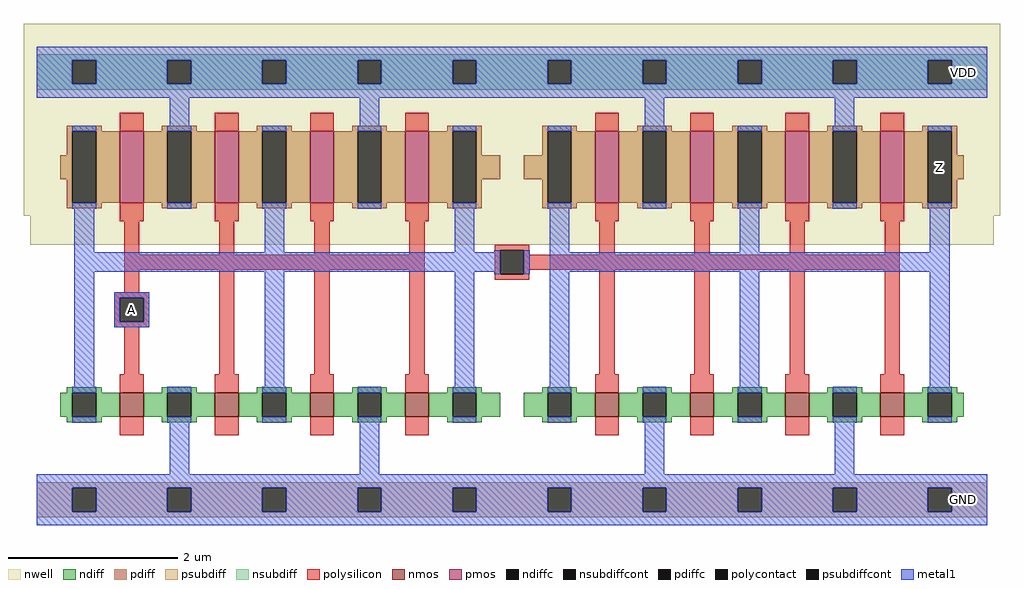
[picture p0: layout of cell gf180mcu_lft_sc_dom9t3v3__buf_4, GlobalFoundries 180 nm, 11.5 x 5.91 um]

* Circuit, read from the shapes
.subckt gf180mcu_lft_sc_dom9t3v3__buf_4 GND VDD A Z
XM1 GND A n1 GND nfet_03v3 w=0.28u l=0.28u m=4
XM2 GND n1 Z GND nfet_03v3 w=0.28u l=0.28u m=4
XM3 VDD A n1 VDD pfet_03v3 w=0.84u l=0.28u m=4
XM4 VDD n1 Z VDD pfet_03v3 w=0.84u l=0.28u m=4
.ends

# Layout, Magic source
magic
tech gf180mcuD
magscale 1 10
<< nwell >>
rect -30 670 2270 1122
rect -15 601 2255 670
<< nmos >>
rect 196 196 252 252
rect 420 196 476 252
rect 644 196 700 252
rect 868 196 924 252
rect 1316 196 1372 252
rect 1540 196 1596 252
rect 1764 196 1820 252
rect 1988 196 2044 252
<< pmos >>
rect 196 700 252 868
rect 420 700 476 868
rect 644 700 700 868
rect 868 700 924 868
rect 1316 700 1372 868
rect 1540 700 1596 868
rect 1764 700 1820 868
rect 1988 700 2044 868
<< ndiff >>
rect 71 252 153 265
rect 295 252 377 265
rect 519 252 601 265
rect 743 252 825 265
rect 967 252 1049 265
rect 1191 252 1273 265
rect 1415 252 1497 265
rect 1639 252 1721 265
rect 1863 252 1945 265
rect 2087 252 2169 265
rect 56 196 84 252
rect 140 196 196 252
rect 252 196 308 252
rect 364 196 420 252
rect 476 196 532 252
rect 588 196 644 252
rect 700 196 756 252
rect 812 196 868 252
rect 924 196 980 252
rect 1036 196 1092 252
rect 1148 196 1204 252
rect 1260 196 1316 252
rect 1372 196 1428 252
rect 1484 196 1540 252
rect 1596 196 1652 252
rect 1708 196 1764 252
rect 1820 196 1876 252
rect 1932 196 1988 252
rect 2044 196 2100 252
rect 2156 196 2184 252
rect 71 183 153 196
rect 295 183 377 196
rect 519 183 601 196
rect 743 183 825 196
rect 967 183 1049 196
rect 1191 183 1273 196
rect 1415 183 1497 196
rect 1639 183 1721 196
rect 1863 183 1945 196
rect 2087 183 2169 196
<< pdiff >>
rect 71 868 153 881
rect 295 868 377 881
rect 519 868 601 881
rect 743 868 825 881
rect 967 868 1049 881
rect 71 812 84 868
rect 56 756 84 812
rect 71 700 84 756
rect 140 700 196 868
rect 252 700 308 868
rect 364 700 420 868
rect 476 700 532 868
rect 588 700 644 868
rect 700 700 756 868
rect 812 700 868 868
rect 924 700 980 868
rect 1036 812 1049 868
rect 1191 868 1273 881
rect 1415 868 1497 881
rect 1639 868 1721 881
rect 1863 868 1945 881
rect 2087 868 2169 881
rect 1191 812 1204 868
rect 1036 756 1092 812
rect 1148 756 1204 812
rect 1036 700 1049 756
rect 71 687 153 700
rect 295 687 377 700
rect 519 687 601 700
rect 743 687 825 700
rect 967 687 1049 700
rect 1191 700 1204 756
rect 1260 700 1316 868
rect 1372 700 1428 868
rect 1484 700 1540 868
rect 1596 700 1652 868
rect 1708 700 1764 868
rect 1820 700 1876 868
rect 1932 700 1988 868
rect 2044 700 2100 868
rect 2156 812 2169 868
rect 2156 756 2184 812
rect 2156 700 2169 756
rect 1191 687 1273 700
rect 1415 687 1497 700
rect 1639 687 1721 700
rect 1863 687 1945 700
rect 2087 687 2169 700
<< ndiffc >>
rect 84 196 140 252
rect 308 196 364 252
rect 532 196 588 252
rect 756 196 812 252
rect 980 196 1036 252
rect 1204 196 1260 252
rect 1428 196 1484 252
rect 1652 196 1708 252
rect 1876 196 1932 252
rect 2100 196 2156 252
<< pdiffc >>
rect 84 700 140 868
rect 308 700 364 868
rect 532 700 588 868
rect 756 700 812 868
rect 980 700 1036 868
rect 1204 700 1260 868
rect 1428 700 1484 868
rect 1652 700 1708 868
rect 1876 700 1932 868
rect 2100 700 2156 868
<< psubdiff >>
rect 0 28 2240 41
rect 0 -28 84 28
rect 140 -28 308 28
rect 364 -28 532 28
rect 588 -28 756 28
rect 812 -28 980 28
rect 1036 -28 1204 28
rect 1260 -28 1428 28
rect 1484 -28 1652 28
rect 1708 -28 1876 28
rect 1932 -28 2100 28
rect 2156 -28 2240 28
rect 0 -41 2240 -28
<< nsubdiff >>
rect 0 1036 2240 1050
rect 0 980 84 1036
rect 140 980 308 1036
rect 364 980 532 1036
rect 588 980 756 1036
rect 812 980 980 1036
rect 1036 980 1204 1036
rect 1260 980 1428 1036
rect 1484 980 1652 1036
rect 1708 980 1876 1036
rect 1932 980 2100 1036
rect 2156 980 2240 1036
rect 0 966 2240 980
<< psubdiffcont >>
rect 84 -28 140 28
rect 308 -28 364 28
rect 532 -28 588 28
rect 756 -28 812 28
rect 980 -28 1036 28
rect 1204 -28 1260 28
rect 1428 -28 1484 28
rect 1652 -28 1708 28
rect 1876 -28 1932 28
rect 2100 -28 2156 28
<< nsubdiffcont >>
rect 84 980 140 1036
rect 308 980 364 1036
rect 532 980 588 1036
rect 756 980 812 1036
rect 980 980 1036 1036
rect 1204 980 1260 1036
rect 1428 980 1484 1036
rect 1652 980 1708 1036
rect 1876 980 1932 1036
rect 2100 980 2156 1036
<< polysilicon >>
rect 196 868 252 912
rect 420 868 476 912
rect 644 868 700 912
rect 868 868 924 912
rect 1316 868 1372 912
rect 1540 868 1596 912
rect 1764 868 1820 912
rect 1988 868 2044 912
rect 196 656 252 700
rect 420 656 476 700
rect 644 656 700 700
rect 868 656 924 700
rect 1316 656 1372 700
rect 1540 656 1596 700
rect 1764 656 1820 700
rect 1988 656 2044 700
rect 206 578 242 656
rect 430 578 466 656
rect 654 578 690 656
rect 878 578 914 656
rect 206 542 914 578
rect 206 489 242 542
rect 183 476 265 489
rect 183 420 196 476
rect 252 420 265 476
rect 183 407 265 420
rect 206 296 242 407
rect 430 296 466 542
rect 654 296 690 542
rect 878 296 914 542
rect 1079 588 1161 601
rect 1079 532 1092 588
rect 1148 578 1161 588
rect 1326 578 1362 656
rect 1550 578 1586 656
rect 1774 578 1810 656
rect 1998 578 2034 656
rect 1148 542 2034 578
rect 1148 532 1161 542
rect 1079 519 1161 532
rect 1326 296 1362 542
rect 1550 296 1586 542
rect 1774 296 1810 542
rect 1998 296 2034 542
rect 196 252 252 296
rect 420 252 476 296
rect 644 252 700 296
rect 868 252 924 296
rect 1316 252 1372 296
rect 1540 252 1596 296
rect 1764 252 1820 296
rect 1988 252 2044 296
rect 196 152 252 196
rect 420 152 476 196
rect 644 152 700 196
rect 868 152 924 196
rect 1316 152 1372 196
rect 1540 152 1596 196
rect 1764 152 1820 196
rect 1988 152 2044 196
<< polycontact >>
rect 196 420 252 476
rect 1092 532 1148 588
<< metal1 >>
rect 0 1036 2240 1068
rect 0 980 84 1036
rect 140 980 308 1036
rect 364 980 532 1036
rect 588 980 756 1036
rect 812 980 980 1036
rect 1036 980 1204 1036
rect 1260 980 1428 1036
rect 1484 980 1652 1036
rect 1708 980 1876 1036
rect 1932 980 2100 1036
rect 2156 980 2240 1036
rect 0 948 2240 980
rect 313 882 359 948
rect 761 882 807 948
rect 1433 882 1479 948
rect 1881 882 1927 948
rect 84 868 140 882
rect 84 686 140 700
rect 308 868 364 882
rect 308 686 364 700
rect 532 868 588 882
rect 532 686 588 700
rect 756 868 812 882
rect 756 686 812 700
rect 980 868 1036 882
rect 980 686 1036 700
rect 1204 868 1260 882
rect 1204 686 1260 700
rect 1428 868 1484 882
rect 1428 686 1484 700
rect 1652 868 1708 882
rect 1652 686 1708 700
rect 1876 868 1932 882
rect 1876 686 1932 700
rect 2100 868 2156 882
rect 2100 686 2156 700
rect 89 583 135 686
rect 537 583 583 686
rect 985 583 1031 686
rect 1078 583 1092 588
rect 89 537 1092 583
rect 89 266 135 537
rect 183 476 265 489
rect 183 420 196 476
rect 252 420 265 476
rect 183 407 265 420
rect 537 266 583 537
rect 985 266 1031 537
rect 1078 532 1092 537
rect 1148 532 1162 588
rect 1209 583 1255 686
rect 1657 583 1703 686
rect 2105 583 2151 686
rect 1209 537 2151 583
rect 1209 266 1255 537
rect 1657 266 1703 537
rect 2105 266 2151 537
rect 84 252 140 266
rect 84 182 140 196
rect 308 252 364 266
rect 308 182 364 196
rect 532 252 588 266
rect 532 182 588 196
rect 756 252 812 266
rect 756 182 812 196
rect 980 252 1036 266
rect 980 182 1036 196
rect 1204 252 1260 266
rect 1204 182 1260 196
rect 1428 252 1484 266
rect 1428 182 1484 196
rect 1652 252 1708 266
rect 1652 182 1708 196
rect 1876 252 1932 266
rect 1876 182 1932 196
rect 2100 252 2156 266
rect 2100 182 2156 196
rect 313 60 359 182
rect 761 60 807 182
rect 1433 60 1479 182
rect 1881 60 1927 182
rect 0 28 2240 60
rect 0 -28 84 28
rect 140 -28 308 28
rect 364 -28 532 28
rect 588 -28 756 28
rect 812 -28 980 28
rect 1036 -28 1204 28
rect 1260 -28 1428 28
rect 1484 -28 1652 28
rect 1708 -28 1876 28
rect 1932 -28 2100 28
rect 2156 -28 2240 28
rect 0 -60 2240 -28
<< labels >>
rlabel metal1 2184 0 2184 0 3 GND
port 1 e
rlabel metal1 2184 1008 2184 1008 3 VDD
port 2 e
rlabel polycontact 224 448 224 448 3 A
port 3 e
rlabel pdiffc 2128 784 2128 784 3 Z
port 4 e
<< properties >>
string FIXED_BBOX 0 0 2240 1008
<< end >>
